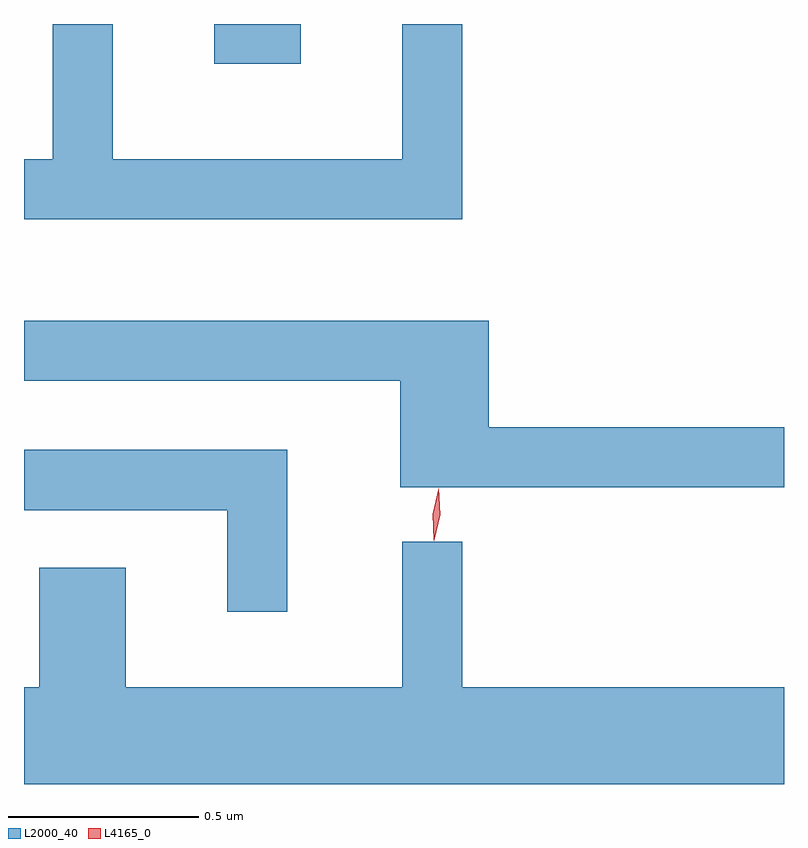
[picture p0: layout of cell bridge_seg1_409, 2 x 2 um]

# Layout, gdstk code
import gdstk
lib = gdstk.Library(unit=1e-6, precision=1e-09)
def R(c, l, rs):  # rectangles x0, y0, x1, y1
    for r in rs: c.add(gdstk.rectangle(r[:2], r[2:], *l))
def P(c, l, *ps):  # polygons
    for p in ps: c.add(gdstk.Polygon(p, *l))
L2000_40 = (2000, 40)
L4165_0 = (4165, 0)

bridge_seg1_409 = lib.new_cell('bridge_seg1_409')
R(bridge_seg1_409, L2000_40, [(500.421,950.326,500.649,950.43)])
P(bridge_seg1_409, L2000_40, [(501.074,950.43),(500.916,950.43),(500.916,950.074),(500.154,950.074),(500.154,950.43),(499.996,950.43),(499.996,950.074),(499.921,950.074),(499.921,949.916),(501.074,949.916)],
  [(501.921,949.369),(501.144,949.369),(501.144,949.649),(499.921,949.649),(499.921,949.491),(500.911,949.491),(500.911,949.211),(501.921,949.211)],
  [(500.614,949.309),(499.921,949.309),(499.921,949.151),(500.456,949.151),(500.456,948.883),(500.614,948.883)],
  [(501.921,948.684),(501.074,948.684),(501.074,949.068),(500.916,949.068),(500.916,948.684),(500.189,948.684),(500.189,948.999),(499.961,948.999),(499.961,948.684),(499.921,948.684),(499.921,948.43),(501.921,948.43)])
P(bridge_seg1_409, L4165_0, [(501,949.07),(500.999,949.071),(500.996,949.14),(501.012,949.208),(501.013,949.208),(501.013,949.208),(501.016,949.138),(501,949.071)])

lib.write_gds('bridge_seg1_409.gds')
